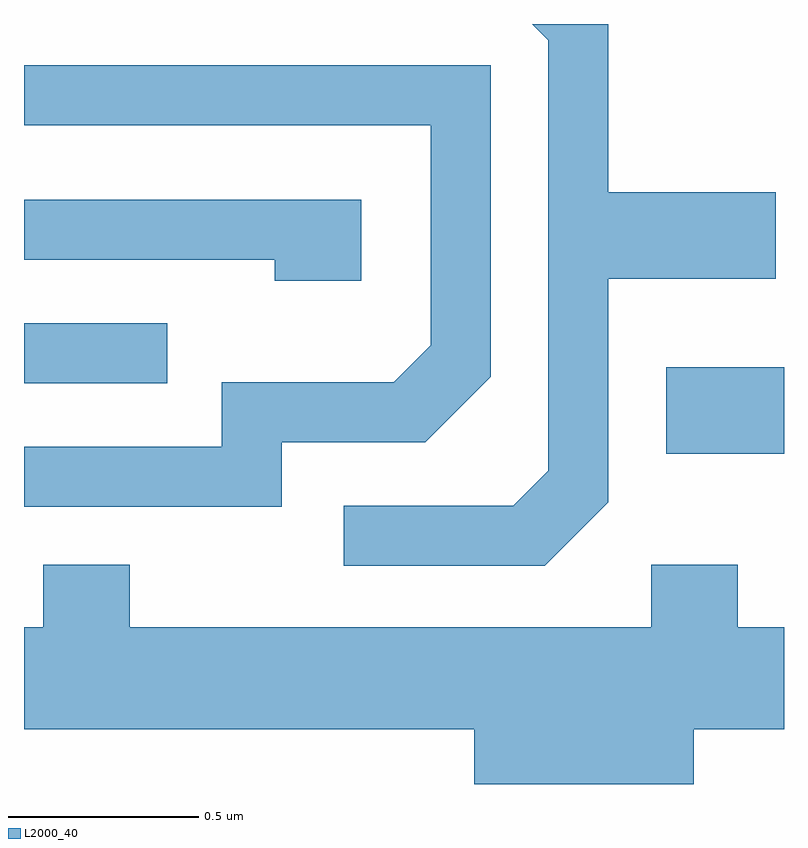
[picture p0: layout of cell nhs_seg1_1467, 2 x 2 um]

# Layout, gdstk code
import gdstk
lib = gdstk.Library(unit=1e-6, precision=1e-09)
def R(c, l, rs):  # rectangles x0, y0, x1, y1
    for r in rs: c.add(gdstk.rectangle(r[:2], r[2:], *l))
def P(c, l, *ps):  # polygons
    for p in ps: c.add(gdstk.Polygon(p, *l))
L2000_40 = (2000, 40)

nhs_seg1_1467 = lib.new_cell('nhs_seg1_1467')
R(nhs_seg1_1467, L2000_40, [(197.301,953.581,197.611,953.809), (195.611,953.766,195.988,953.924)])
P(nhs_seg1_1467, L2000_40, [(197.149,953.454),(197.149,954.041),(197.589,954.041),(197.589,954.269),(197.149,954.269),(197.149,954.712),(196.948,954.712),(196.991,954.669),(196.991,953.537),(196.899,953.444),(196.453,953.444),(196.453,953.286),(196.982,953.286)],
  [(196.289,953.611),(196.667,953.611),(196.839,953.784),(196.839,954.604),(195.611,954.604),(195.611,954.446),(196.681,954.446),(196.681,953.867),(196.584,953.769),(196.131,953.769),(196.131,953.599),(195.611,953.599),(195.611,953.441),(196.289,953.441)],
  [(196.499,954.249),(195.611,954.249),(195.611,954.091),(196.271,954.091),(196.271,954.036),(196.499,954.036)],
  [(197.374,952.856),(197.611,952.856),(197.611,953.124),(197.489,953.124),(197.489,953.289),(197.261,953.289),(197.261,953.124),(195.889,953.124),(195.889,953.289),(195.661,953.289),(195.661,953.124),(195.611,953.124),(195.611,952.856),(196.796,952.856),(196.796,952.712),(197.374,952.712)])

lib.write_gds('nhs_seg1_1467.gds')
